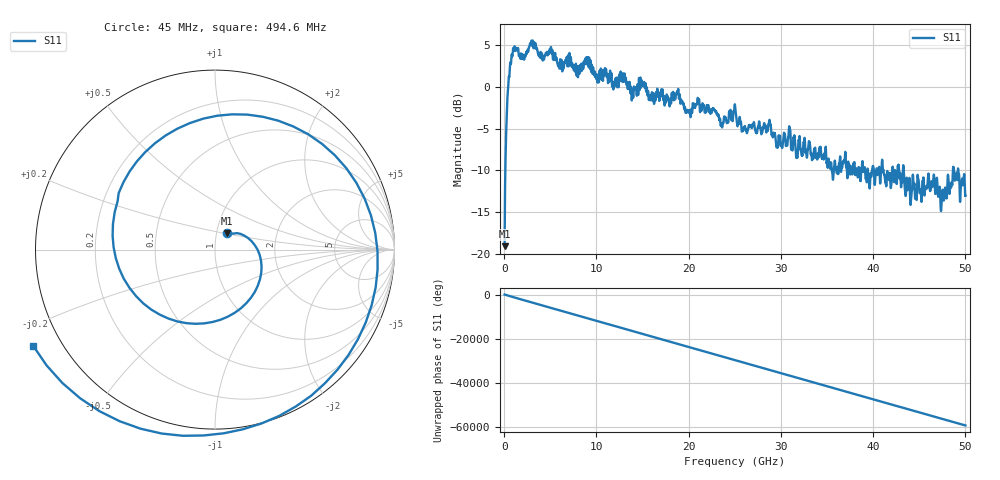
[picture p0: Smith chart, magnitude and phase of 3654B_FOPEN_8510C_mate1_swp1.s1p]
!Created with skrf (http://scikit-rf.org).
# Hz S RI R 50.0
!freq ReS11 ImS11
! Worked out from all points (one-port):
!   10001 points, 45 MHz to 50 GHz, reference 50 ohm
!   lowest |S11| = -19.1 dB at 45 MHz (marker M1), VSWR 1.25, Z = 55.9 + j10.2 ohm
!   |S11| at or under -10 dB: 41.11 GHz to 42.07 GHz (962.8 MHz wide, 2.31 % of centre); 43.32 GHz to 48.65 GHz (5.331 GHz wide, 11.6 % of centre); 49.23 GHz to end of sweep (the widest 3 of 25)
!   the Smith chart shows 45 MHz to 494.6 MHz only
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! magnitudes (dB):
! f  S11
! 45 MHz  -19.1
! 319.8 MHz  -2.1
! 439.6 MHz  0.1
! 1.019 GHz  4.4
! 2.103 GHz  3.5
! 3.032 GHz  5.0
! 6.289 GHz  1.9
! 8.987 GHz  2.7
! 10.06 GHz  1.4
! 12.53 GHz  0.8
! 15.89 GHz  -1.0
! 18.78 GHz  -0.8
! 20.01 GHz  -2.9
! 20.95 GHz  -1.6
! 23.55 GHz  -4.4
! 25.02 GHz  -2.2
! 25.97 GHz  -4.9
! 28.7 GHz  -4.3
! 29.62 GHz  -7.0
! 31.27 GHz  -7.5
! 35.55 GHz  -10.1
! 37.51 GHz  -10.5
! 42.58 GHz  -11.5
! 43.76 GHz  -11.9
! 46.72 GHz  -12.6
! 47.5 GHz  -12.6
! 48.86 GHz  -11.2
! 50 GHz  -13.1
